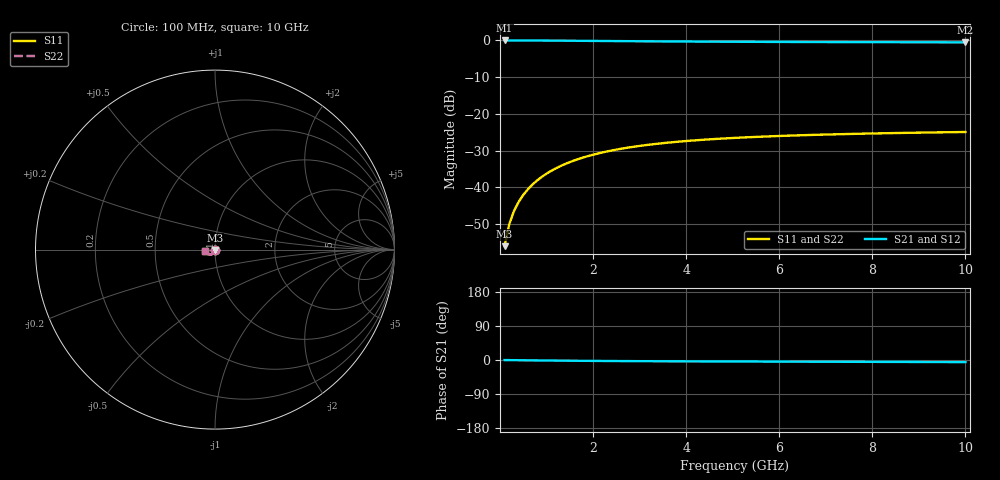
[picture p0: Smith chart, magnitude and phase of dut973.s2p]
! Touchstone file exported from HFSS 2024.1.0
!  File:  C:/UserFiles/LocalFiles/RDL_TSV_Batchsim/temp_TSV1_973_1779951315.aedt
!  Generated:  03:00:25 PM May 28, 2026
!  Design:  TSV1
!  Project:  temp_TSV1_973_1779951315
!  Setup:  Setup1
!  Solution:  Sweep
! Variables:
!  dtsv = 11.83um
!  hbump = 3um
!  htsv = 87.55um
!  lrdl = 252.1521522um
!  p = 40
!  p1 = 49.2um
!  t = 500um
!  trdl = 3um
!  wrdl = 24.89489489um
# GHz S MA R 50.000000
! Terminal data exported
! Port[1] = TSV22_T1
! Port[2] = TSV22_T2
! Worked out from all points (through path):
!   100 points, 100 MHz to 10 GHz, reference 50 ohm
!   highest |S21| = 0.00 dB at 100 MHz (marker M1); lowest = -0.5 dB at 10 GHz (marker M2)
!   lowest |S11| = -56.0 dB at 100 MHz (marker M3), VSWR 1.00, Z = 50 - j0.159 ohm
!   |S11| at or under -10 dB: start of sweep to end of sweep
!   |S22| runs from -56.0 to -24.9 dB; largest |S21 - S12| = 8.1e-15
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0.1  0.00159 -87.7  0.9998 -0.1  0.9998 -0.1  0.00159 -87.7
! Gamma 0 0 0 0
! Port Impedance 50 0 50 0
0.2  0.003175 -91.3  0.9997 -0.3  0.9997 -0.3  0.003175 -91.3
0.3  0.004759 -93.6  0.9994 -0.4  0.9994 -0.4  0.004759 -93.6
0.4  0.006336 -95.6  0.9991 -0.6  0.9991 -0.6  0.006336 -95.6
0.5  0.007902 -97.4  0.9986 -0.7  0.9986 -0.7  0.007902 -97.4
0.6  0.009451 -99.3  0.9981 -0.8  0.9981 -0.8  0.009451 -99.3
0.7  0.01098 -101.0  0.9975 -1.0  0.9975 -1.0  0.01098 -101.0
0.8  0.01248 -102.8  0.9969 -1.1  0.9969 -1.1  0.01248 -102.8
0.9  0.01396 -104.5  0.9962 -1.2  0.9962 -1.2  0.01396 -104.5
1.1  0.01681 -107.8  0.9946 -1.5  0.9946 -1.5  0.01681 -107.8
1.4  0.02084 -112.5  0.9918 -1.8  0.9918 -1.8  0.02084 -112.5
1.6  0.02334 -115.4  0.9898 -2.0  0.9898 -2.0  0.02334 -115.4
1.8  0.02569 -118.3  0.9877 -2.2  0.9877 -2.2  0.02569 -118.3
2.1  0.02892 -122.3  0.9845 -2.5  0.9845 -2.5  0.02892 -122.3
2.5  0.03273 -127.2  0.9802 -2.8  0.9802 -2.8  0.03273 -127.2
2.9  0.036 -131.6  0.9762 -3.0  0.9762 -3.0  0.036 -131.6
3.4  0.03946 -136.5  0.9715 -3.3  0.9715 -3.3  0.03946 -136.5
4.2  0.0438 -143.2  0.9651 -3.6  0.9651 -3.6  0.0438 -143.2
5.1  0.04744 -149.4  0.9592 -4.0  0.9592 -4.0  0.04744 -149.4
6.7  0.05184 -158.1  0.9518 -4.5  0.9518 -4.5  0.05184 -158.1
8.4  0.05486 -165.3  0.9465 -5.1  0.9465 -5.1  0.05486 -165.3
10  0.05685 -170.8  0.943 -5.6  0.943 -5.6  0.05685 -170.8
